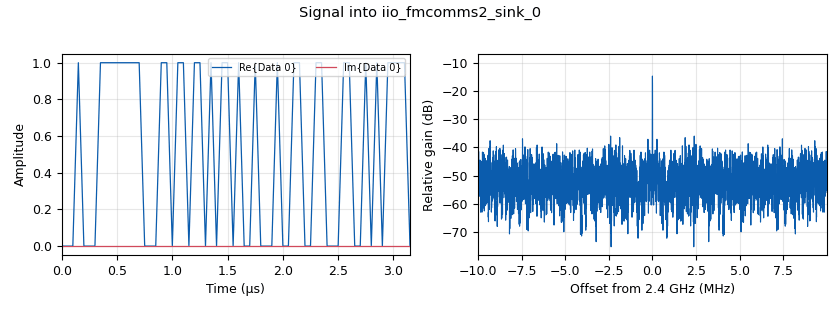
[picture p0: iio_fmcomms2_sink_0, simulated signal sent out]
<?xml version='1.0' encoding='utf-8'?>
<?grc format='1' created='3.7.11'?>
<flow_graph>
<block>
<key>options</key>
<param><key>id</key><value>top_block</value></param>
<param><key>generate_options</key><value>wx_gui</value></param>
</block>
<block>
<key>variable</key>
<param><key>id</key><value>FMCOMMS_LO</value></param>
<param><key>value</key><value>2.4e9</value></param>
</block>
<block>
<key>variable</key>
<param><key>id</key><value>FMCOMMS_RFband</value></param>
<param><key>value</key><value>samp_rate*2</value></param>
</block>
<block>
<key>variable</key>
<param><key>id</key><value>FMCOMMS_samp_rate</value></param>
<param><key>value</key><value>samp_rate*2</value></param>
</block>
<block>
<key>variable</key>
<param><key>id</key><value>fs</value></param>
<param><key>value</key><value>1000</value></param>
</block>
<block>
<key>variable</key>
<param><key>id</key><value>samp_rate</value></param>
<param><key>value</key><value>10e6</value></param>
</block>
<block>
<key>analog_random_source_x</key>
<param><key>id</key><value>analog_random_source_x_0</value></param>
<param><key>max</key><value>2</value></param>
<param><key>min</key><value>0</value></param>
<param><key>num_samps</key><value>1000</value></param>
<param><key>type</key><value>int</value></param>
<param><key>repeat</key><value>True</value></param>
</block>
<block>
<key>blocks_float_to_complex</key>
<param><key>id</key><value>blocks_float_to_complex_0</value></param>
</block>
<block>
<key>blocks_int_to_float</key>
<param><key>id</key><value>blocks_int_to_float_0</value></param>
<param><key>scale</key><value>1</value></param>
</block>
<block>
<key>blocks_throttle</key>
<param><key>id</key><value>blocks_throttle_0</value></param>
<param><key>samples_per_second</key><value>samp_rate</value></param>
<param><key>type</key><value>int</value></param>
</block>
<block>
<key>iio_fmcomms2_sink</key>
<param><key>id</key><value>iio_fmcomms2_sink_0</value></param>
<param><key>buffer_size</key><value>0x8000</value></param>
<param><key>cyclic</key><value>False</value></param>
<param><key>auto_filter</key><value>True</value></param>
<param><key>uri</key><value>uri</value></param>
<param><key>frequency</key><value>FMCOMMS_LO</value></param>
<param><key>rf_port_select</key><value>"A"</value></param>
<param><key>bandwidth</key><value>FMCOMMS_RFband</value></param>
<param><key>samplerate</key><value>FMCOMMS_samp_rate</value></param>
<param><key>tx1_en</key><value>True</value></param>
<param><key>tx2_en</key><value>False</value></param>
</block>
<block>
<key>iio_fmcomms2_source</key>
<param><key>id</key><value>iio_fmcomms2_source_0</value></param>
<param><key>bbdc</key><value>True</value></param>
<param><key>buffer_size</key><value>0x8000</value></param>
<param><key>auto_filter</key><value>True</value></param>
<param><key>gain1</key><value>"manual"</value></param>
<param><key>uri</key><value>uri</value></param>
<param><key>frequency</key><value>FMCOMMS_LO</value></param>
<param><key>manual_gain1</key><value>64.0</value></param>
<param><key>quadrature</key><value>True</value></param>
<param><key>rfdc</key><value>True</value></param>
<param><key>rf_port_select</key><value>"A_BALANCED"</value></param>
<param><key>bandwidth</key><value>FMCOMMS_RFband</value></param>
<param><key>rx1_en</key><value>True</value></param>
<param><key>rx2_en</key><value>False</value></param>
<param><key>samplerate</key><value>FMCOMMS_samp_rate</value></param>
</block>
<block>
<key>parameter</key>
<param><key>id</key><value>uri</value></param>
<param><key>label</key><value>URI</value></param>
<param><key>type</key><value>string</value></param>
<param><key>value</key><value>'ip:192.168.0.97'</value></param>
</block>
<block>
<key>wxgui_constellationsink2</key>
<param><key>id</key><value>wxgui_constellationsink2_0</value></param>
<param><key>const_size</key><value>2048</value></param>
<param><key>_enabled</key><value>0</value></param>
<param><key>frame_rate</key><value>5</value></param>
<param><key>gain_mu</key><value>0.005</value></param>
<param><key>loop_bw</key><value>6.28/100.0</value></param>
<param><key>M</key><value>2</value></param>
<param><key>fmax</key><value>0.06</value></param>
<param><key>mu</key><value>0.5</value></param>
<param><key>omega_limit</key><value>0.005</value></param>
<param><key>samp_rate</key><value>FMCOMMS_samp_rate</value></param>
<param><key>symbol_rate</key><value>samp_rate/4.</value></param>
<param><key>theta</key><value>0</value></param>
<param><key>title</key><value>Constellation Plot</value></param>
</block>
<block>
<key>wxgui_fftsink2</key>
<param><key>id</key><value>wxgui_fftsink2_0</value></param>
<param><key>avg_alpha</key><value>0</value></param>
<param><key>average</key><value>False</value></param>
<param><key>baseband_freq</key><value>0</value></param>
<param><key>_enabled</key><value>0</value></param>
<param><key>fft_size</key><value>1024</value></param>
<param><key>freqvar</key><value>None</value></param>
<param><key>peak_hold</key><value>False</value></param>
<param><key>ref_level</key><value>0</value></param>
<param><key>ref_scale</key><value>2.0</value></param>
<param><key>fft_rate</key><value>15</value></param>
<param><key>samp_rate</key><value>FMCOMMS_samp_rate</value></param>
<param><key>title</key><value>FFT Plot</value></param>
<param><key>type</key><value>complex</value></param>
<param><key>win</key><value>None</value></param>
<param><key>y_divs</key><value>10</value></param>
<param><key>y_per_div</key><value>10</value></param>
</block>
<block>
<key>wxgui_fftsink2</key>
<param><key>id</key><value>wxgui_fftsink2_1</value></param>
<param><key>avg_alpha</key><value>1</value></param>
<param><key>average</key><value>True</value></param>
<param><key>baseband_freq</key><value>0</value></param>
<param><key>fft_size</key><value>1024</value></param>
<param><key>freqvar</key><value>None</value></param>
<param><key>peak_hold</key><value>False</value></param>
<param><key>ref_level</key><value>0</value></param>
<param><key>ref_scale</key><value>2.0</value></param>
<param><key>fft_rate</key><value>15</value></param>
<param><key>samp_rate</key><value>FMCOMMS_samp_rate</value></param>
<param><key>title</key><value>FFT Plot</value></param>
<param><key>type</key><value>complex</value></param>
<param><key>win</key><value>None</value></param>
<param><key>y_divs</key><value>10</value></param>
<param><key>y_per_div</key><value>10</value></param>
</block>
<block>
<key>wxgui_scopesink2</key>
<param><key>id</key><value>wxgui_scopesink2_0</value></param>
<param><key>ac_couple</key><value>False</value></param>
<param><key>_enabled</key><value>0</value></param>
<param><key>num_inputs</key><value>1</value></param>
<param><key>samp_rate</key><value>samp_rate</value></param>
<param><key>t_scale</key><value>0</value></param>
<param><key>title</key><value>Scope Plot</value></param>
<param><key>trig_mode</key><value>wxgui.TRIG_MODE_AUTO</value></param>
<param><key>type</key><value>float</value></param>
<param><key>v_offset</key><value>0</value></param>
<param><key>v_scale</key><value>0</value></param>
<param><key>xy_mode</key><value>False</value></param>
<param><key>y_axis_label</key><value>Counts</value></param>
</block>
<connection><source_block_id>analog_random_source_x_0</source_block_id><sink_block_id>blocks_throttle_0</sink_block_id><source_key>0</source_key><sink_key>0</sink_key></connection>
<connection><source_block_id>blocks_float_to_complex_0</source_block_id><sink_block_id>iio_fmcomms2_sink_0</sink_block_id><source_key>0</source_key><sink_key>0</sink_key></connection>
<connection><source_block_id>blocks_float_to_complex_0</source_block_id><sink_block_id>wxgui_constellationsink2_0</sink_block_id><source_key>0</source_key><sink_key>0</sink_key></connection>
<connection><source_block_id>blocks_float_to_complex_0</source_block_id><sink_block_id>wxgui_fftsink2_0</sink_block_id><source_key>0</source_key><sink_key>0</sink_key></connection>
<connection><source_block_id>blocks_int_to_float_0</source_block_id><sink_block_id>blocks_float_to_complex_0</sink_block_id><source_key>0</source_key><sink_key>0</sink_key></connection>
<connection><source_block_id>blocks_int_to_float_0</source_block_id><sink_block_id>wxgui_scopesink2_0</sink_block_id><source_key>0</source_key><sink_key>0</sink_key></connection>
<connection><source_block_id>blocks_throttle_0</source_block_id><sink_block_id>blocks_int_to_float_0</sink_block_id><source_key>0</source_key><sink_key>0</sink_key></connection>
<connection><source_block_id>iio_fmcomms2_source_0</source_block_id><sink_block_id>wxgui_fftsink2_1</sink_block_id><source_key>0</source_key><sink_key>0</sink_key></connection>
</flow_graph>
